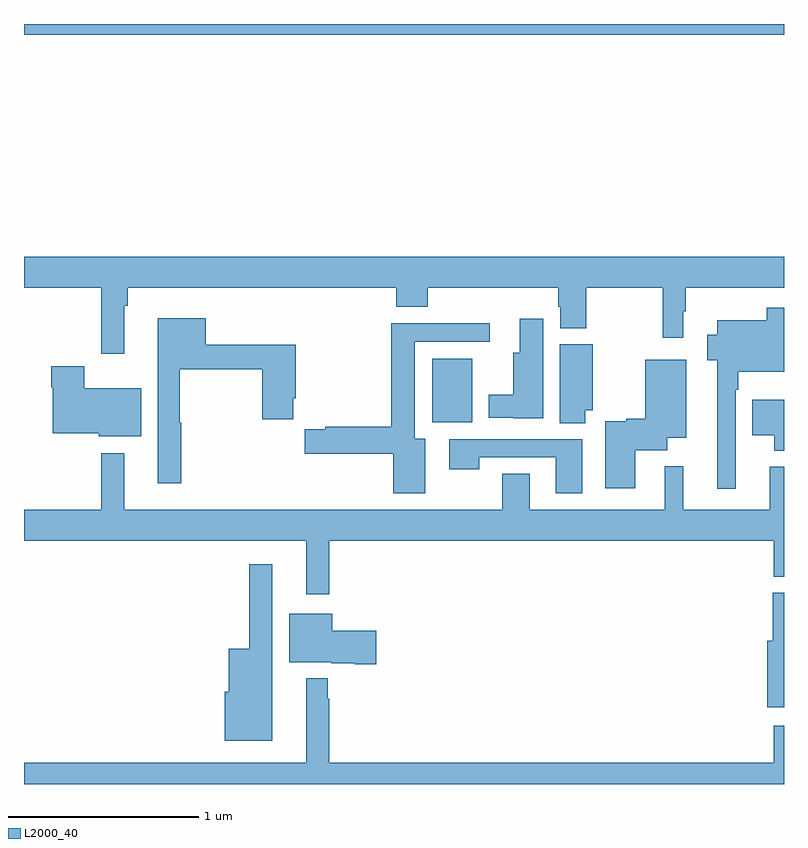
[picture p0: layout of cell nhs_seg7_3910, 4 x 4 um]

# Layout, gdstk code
import gdstk
lib = gdstk.Library(unit=1e-6, precision=1e-09)
def R(c, l, rs):  # rectangles x0, y0, x1, y1
    for r in rs: c.add(gdstk.rectangle(r[:2], r[2:], *l))
def P(c, l, *ps):  # polygons
    for p in ps: c.add(gdstk.Polygon(p, *l))
L2000_40 = (2000, 40)

nhs_seg7_3910 = lib.new_cell('nhs_seg7_3910')
R(nhs_seg7_3910, L2000_40, [(361.148,1003.904,361.36,1004.239), (359,1005.944,363,1006)])
P(nhs_seg7_3910, L2000_40, [(359.527,1004.516),(359.545,1004.516),(359.545,1004.612),(360.959,1004.612),(360.959,1004.513),(361.124,1004.513),(361.124,1004.612),(361.811,1004.612),(361.811,1004.511),(361.823,1004.511),(361.823,1004.399),(361.959,1004.399),(361.959,1004.612),(362.361,1004.612),(362.361,1004.349),(362.469,1004.349),(362.469,1004.489),(362.482,1004.489),(362.482,1004.612),(363,1004.612),(363,1004.776),(359,1004.776),(359,1004.612),(359.406,1004.612),(359.406,1004.265),(359.527,1004.265)],
  [(362.745,1004.075),(362.758,1004.075),(362.758,1004.171),(363,1004.171),(363,1004.506),(362.91,1004.506),(362.91,1004.44),(362.648,1004.44),(362.648,1004.365),(362.597,1004.365),(362.597,1004.231),(362.648,1004.231),(362.648,1003.554),(362.745,1003.554)],
  [(359.827,1003.901),(359.819,1003.901),(359.819,1004.182),(360.253,1004.182),(360.253,1003.921),(360.418,1003.921),(360.418,1004.029),(360.431,1004.029),(360.431,1004.311),(359.956,1004.311),(359.956,1004.452),(359.705,1004.452),(359.705,1003.584),(359.827,1003.584)],
  [(361.732,1004.449),(361.61,1004.449),(361.61,1004.269),(361.574,1004.269),(361.574,1004.05),(361.445,1004.05),(361.445,1003.928),(361.578,1003.928),(361.578,1003.925),(361.732,1003.925)],
  [(361.111,1003.816),(361.057,1003.816),(361.057,1004.328),(361.45,1004.328),(361.45,1004.426),(360.932,1004.426),(360.932,1003.88),(360.586,1003.88),(360.586,1003.867),(360.478,1003.867),(360.478,1003.738),(360.944,1003.738),(360.944,1003.53),(361.111,1003.53)],
  [(361.954,1003.967),(361.993,1003.967),(361.993,1004.314),(361.82,1004.314),(361.82,1003.9),(361.954,1003.9)],
  [(362.218,1003.757),(362.386,1003.757),(362.386,1003.823),(362.485,1003.823),(362.485,1004.233),(362.27,1004.233),(362.27,1003.922),(362.169,1003.922),(362.169,1003.909),(362.06,1003.909),(362.06,1003.557),(362.218,1003.557)],
  [(359.617,1004.083),(359.316,1004.083),(359.316,1004.2),(359.143,1004.2),(359.143,1004.087),(359.15,1004.087),(359.15,1003.847),(359.394,1003.847),(359.394,1003.829),(359.617,1003.829)],
  [(363,1004.023),(362.834,1004.023),(362.834,1003.835),(362.948,1003.835),(362.948,1003.754),(363,1003.754)],
  [(361.939,1003.815),(361.239,1003.815),(361.239,1003.656),(361.395,1003.656),(361.395,1003.719),(361.799,1003.719),(361.799,1003.53),(361.939,1003.53)],
  [(360.607,1003.28),(362.945,1003.28),(362.945,1003.091),(363,1003.091),(363,1003.669),(362.924,1003.669),(362.924,1003.444),(362.471,1003.444),(362.471,1003.672),(362.372,1003.672),(362.372,1003.444),(361.663,1003.444),(361.663,1003.634),(361.516,1003.634),(361.516,1003.444),(359.527,1003.444),(359.527,1003.741),(359.406,1003.741),(359.406,1003.444),(359,1003.444),(359,1003.28),(360.485,1003.28),(360.485,1002.999),(360.607,1002.999)],
  [(360.307,1003.156),(360.186,1003.156),(360.186,1002.712),(360.077,1002.712),(360.077,1002.486),(360.056,1002.486),(360.056,1002.227),(360.307,1002.227)],
  [(363,1003.006),(362.942,1003.006),(362.942,1002.753),(362.912,1002.753),(362.912,1002.405),(363,1002.405)],
  [(360.853,1002.807),(360.622,1002.807),(360.622,1002.895),(360.395,1002.895),(360.395,1002.641),(360.618,1002.641),(360.618,1002.635),(360.74,1002.635),(360.74,1002.629),(360.853,1002.629)],
  [(363,1002.307),(362.945,1002.307),(362.945,1002.112),(360.607,1002.112),(360.607,1002.449),(360.599,1002.449),(360.599,1002.556),(360.485,1002.556),(360.485,1002.112),(359,1002.112),(359,1002),(363,1002)])

lib.write_gds('nhs_seg7_3910.gds')
